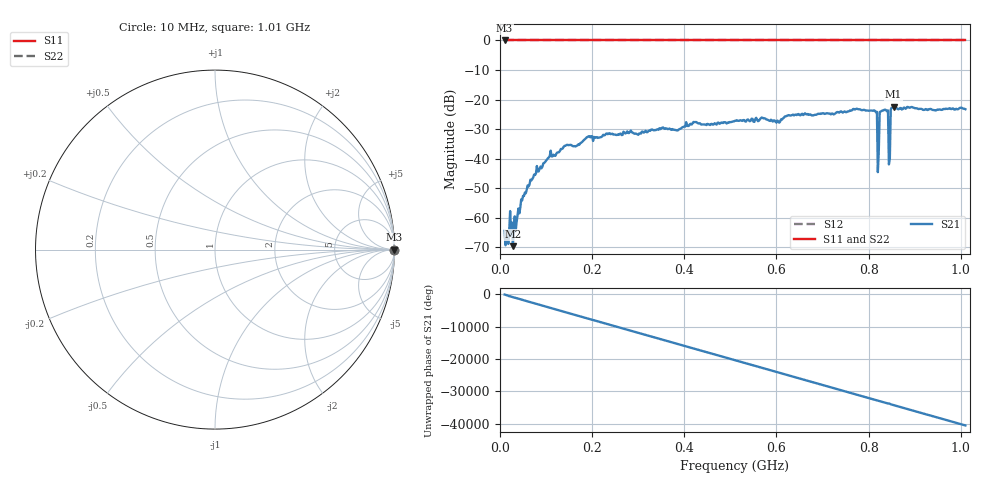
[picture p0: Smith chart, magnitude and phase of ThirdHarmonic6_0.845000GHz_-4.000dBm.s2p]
! 8/16/2025 3:59:14 AM
! C:\ANRITSUVNA\TEMP\TEMP.S2P
! CHANNEL.1
! TR.MEASUREMENT
! RAW.DATA
! RF.CORRECTION.OFF
! AVERAGING.OFF
! IF.BANDWIDTH: 5KHZ
! SWEEPTYPE:  FREQ.SWEEP(Linear)
! Reference Plane Port Info
! PORT:  PORT1  PORT2
! DISTANCE:  0  m  0  m
! TIME:  0  s  0  s
! PHASE.OFFSET:  0  deg.  0  deg.
! LOSS:  0  dB  0  dB
! REF.LOSS:  0  dB  0  dB
! REF.FREQ:  0  Hz  0  Hz
! Power Info
! POWER:  -20  dBm  -20  dBm
! EFF.POWER:  -20  dBm  -20  dBm
! SOURCE.ATTEN:  0  dB  0  dB
! TEST.ATTEN:  0  dB  0  dB
# GHZ S RI R 50.0
! FREQ.GHZ  S11RE  S11IM  S21RE  S21IM  S12RE  S12IM  S22RE  S22IM
!; PortSelection: Port_12
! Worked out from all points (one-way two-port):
!   501 points, 10 MHz to 1.01 GHz, reference 50 ohm
!   highest |S21| = -22.41 dB at 854 MHz (marker M1); lowest = -69.6 dB at 28 MHz (marker M2)
!   lowest |S11| = 0.0 dB at 10 MHz (marker M3)
!   |S11| at or under -10 dB: nowhere
!   |S22| runs from 0.0 to 0.0 dB; largest |S21 - S12| = 1.1
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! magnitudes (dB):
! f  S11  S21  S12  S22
! 10 MHz  0.0  -64.4  0.0  0.0
! 28 MHz  0.0  -69.6  0.0  0.0
! 50 MHz  0.0  -52.6  0.0  0.0
! 78 MHz  0.0  -45.1  0.0  0.0
! 108 MHz  0.0  -39.1  0.0  0.0
! 178 MHz  0.0  -34.4  0.0  0.0
! 344 MHz  0.0  -30.2  0.0  0.0
! 510 MHz  0.0  -27.2  0.0  0.0
! 678 MHz  0.0  -25.4  0.0  0.0
! 810 MHz  0.0  -23.8  0.0  0.0
! 814 MHz  0.0  -23.9  0.0  0.0
! 818 MHz  0.0  -24.2  0.0  0.0
! 820 MHz  0.0  -44.6  0.0  0.0
! 824 MHz  0.0  -24.2  0.0  0.0
! 828 MHz  0.0  -23.9  0.0  0.0
! 838 MHz  0.0  -23.6  0.0  0.0
! 842 MHz  0.0  -23.7  0.0  0.0
! 844 MHz  0.0  -41.9  0.0  0.0
! 848 MHz  0.0  -23.4  0.0  0.0
! 852 MHz  0.0  -22.7  0.0  0.0
! 854 MHz  0.0  -22.4  0.0  0.0
! 1.01 GHz  0.0  -23.3  0.0  0.0
